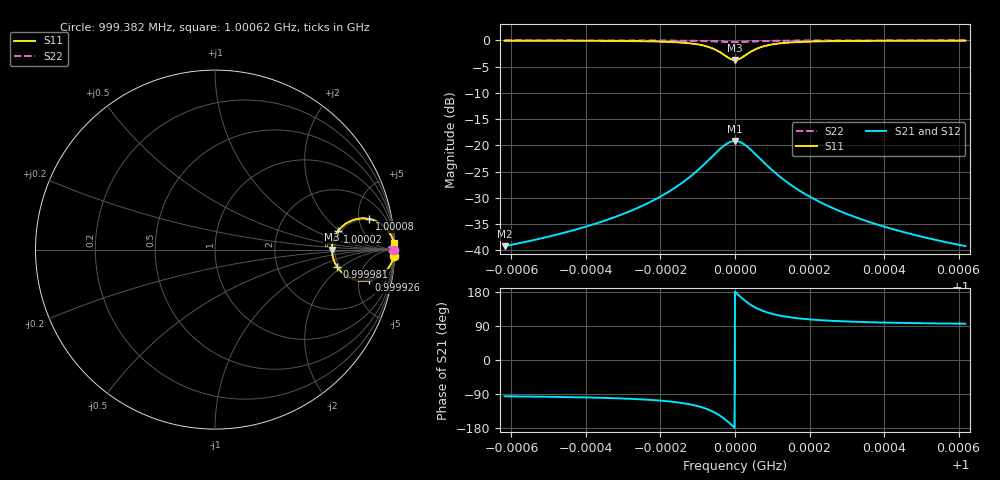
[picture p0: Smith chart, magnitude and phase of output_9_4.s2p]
! File generated for n1 = 9, n2 = 4
! b1 = 0.215443
! b2 = 0.021544
! Q0 = 10000.000000
! f0 = 1000000000.000000
! n = 1001
! rel_span = 10.000000
# Hz S RI R 50
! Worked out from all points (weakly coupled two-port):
!   1001 points, 999.382 MHz to 1.00062 GHz, reference 50 ohm
!   highest |S21| = -19.16 dB at 1 GHz (marker M1); lowest = -39.2 dB at 999.382 MHz (marker M2)
!   lowest |S11| = -3.7 dB at 1 GHz (marker M3), VSWR 4.74, Z = 237 + j0 ohm
!   |S11| at or under -10 dB: nowhere
!   |S22| runs from -0.3 to 0.0 dB; largest |S21 - S12| = 0
!   S11 on the Smith chart (normalised r, x): 999.382 MHz: 5, -57; 999.926 MHz: 4.74, -6.89; 999.981 MHz: 4.74, -1.72; 1.00002 GHz: 4.74, +1.84; 1.00008 GHz: 4.74, +7.00; 1.00062 GHz: 5, +57
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9.993815e8  0.9966 -0.0345  -0.00109 -0.0109  -0.00109 -0.0109  0.9997 -0.00345
9.994879e8  0.995 -0.0415  -0.00158 -0.0131  -0.00158 -0.0131  0.9995 -0.00415
9.995881e8  0.9923 -0.0511  -0.00243 -0.0162  -0.00243 -0.0162  0.9992 -0.00511
9.997019e8  0.9856 -0.0693  -0.00454 -0.0219  -0.00454 -0.0219  0.9986 -0.00693
9.997947e8  0.971 -0.0962  -0.00916 -0.0304  -0.00916 -0.0304  0.9971 -0.00962
9.998738e8  0.9325 -0.1377  -0.0213 -0.0435  -0.0213 -0.0435  0.9933 -0.0138
9.999023e8  0.9004 -0.1574  -0.0315 -0.0498  -0.0315 -0.0498  0.99 -0.0157
9.999258e8  0.8572 -0.1713  -0.0451 -0.0542  -0.0451 -0.0542  0.9857 -0.0171
9.999567e8  0.7662 -0.1636  -0.0739 -0.0518  -0.0739 -0.0518  0.9766 -0.0164
9.999691e8  0.7213 -0.1393  -0.0881 -0.0441  -0.0881 -0.0441  0.9721 -0.0139
9.999814e8  0.6804 -0.0959  -0.1011 -0.0303  -0.1011 -0.0303  0.968 -0.00959
1e9  0.6517 0  -0.1102 0  -0.1102 0  0.9652 0
1.00002e9  0.684 0.1011  -0.0999 0.032  -0.0999 0.032  0.9684 0.0101
1.000043e9  0.7662 0.1636  -0.0739 0.0517  -0.0739 0.0517  0.9766 0.0164
1.000075e9  0.86 0.1708  -0.0443 0.054  -0.0443 0.054  0.986 0.0171
1.000099e9  0.9021 0.1566  -0.0309 0.0495  -0.0309 0.0495  0.9902 0.0157
1.000127e9  0.9336 0.1369  -0.021 0.0433  -0.021 0.0433  0.9934 0.0137
1.000207e9  0.9713 0.0957  -0.00906 0.0303  -0.00906 0.0303  0.9971 0.00957
1.000299e9  0.9857 0.069  -0.00451 0.0218  -0.00451 0.0218  0.9986 0.0069
1.000413e9  0.9924 0.051  -0.00242 0.0161  -0.00242 0.0161  0.9992 0.0051
1.000513e9  0.995 0.0414  -0.00158 0.0131  -0.00158 0.0131  0.9995 0.00414
1.000618e9  0.9965 0.0345  -0.00109 0.0109  -0.00109 0.0109  0.9997 0.00345
